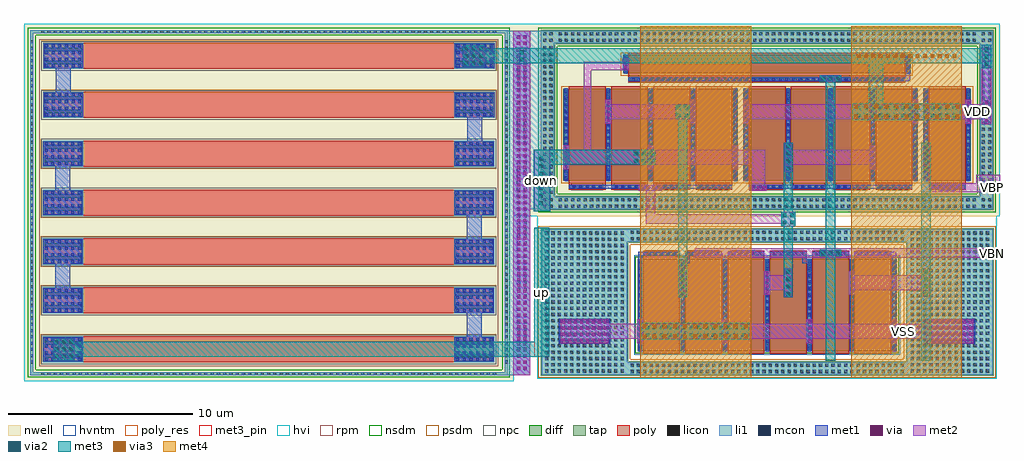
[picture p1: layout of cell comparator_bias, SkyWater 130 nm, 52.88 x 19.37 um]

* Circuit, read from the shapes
.subckt comparator_bias VBN VBP VDD VSS down up
XM1 VBN VSS VSS VSS sky130_fd_pr__nfet_g5v0d10v5 w=5 l=2
XM2 VSS VBN VBN VSS sky130_fd_pr__nfet_g5v0d10v5 w=5 l=2
XM3 n1 VBN VSS VSS sky130_fd_pr__nfet_g5v0d10v5 w=5 l=2
XM4 VSS VSS n1 VSS sky130_fd_pr__nfet_g5v0d10v5 w=5 l=2
XM5 VBP VBN VSS VSS sky130_fd_pr__nfet_g5v0d10v5 w=5 l=2
XM6 VSS VSS VBP VSS sky130_fd_pr__nfet_g5v0d10v5 w=5 l=2
XM7 VBN n1 down VDD sky130_fd_pr__pfet_g5v0d10v5 w=5 l=2 m=4
XM8 VBN VBN down VDD sky130_fd_pr__pfet_g5v0d10v5 w=1 l=15
XM9 n1 down VDD VDD sky130_fd_pr__pfet_g5v0d10v5 w=5 l=2 m=4
XM10 VDD VBP VBP VDD sky130_fd_pr__pfet_g5v0d10v5 w=5 l=2
XR11 n2 up VSS sky130_fd_pr__res_high_po w=1.41 l=20.14
XR12 n2 n3 VSS sky130_fd_pr__res_high_po w=1.41 l=20.14
XR13 n4 n3 VSS sky130_fd_pr__res_high_po w=1.41 l=20.14
XR14 n4 n5 VSS sky130_fd_pr__res_high_po w=1.41 l=20.14
XR15 n6 n5 VSS sky130_fd_pr__res_high_po w=1.41 l=20.14
XR16 n6 n7 VSS sky130_fd_pr__res_high_po w=1.41 l=20.14
XR17 VDD n7 VSS sky130_fd_pr__res_high_po w=1.41 l=20.14
.ends

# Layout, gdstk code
import gdstk
lib = gdstk.Library(unit=1e-6, precision=1e-09)
def R(c, l, rs):  # rectangles x0, y0, x1, y1
    for r in rs: c.add(gdstk.rectangle(r[:2], r[2:], *l))
def A(c, l, x, y, w, h, nx, ny, dx, dy):  # array of equal rectangles
    R(c, l, [(x+i*dx, y+j*dy, x+i*dx+w, y+j*dy+h) for i in range(nx) for j in range(ny)])
nwell = (64, 20)
diff = (65, 20)
tap = (65, 44)
poly_res = (66, 13)
poly = (66, 20)
licon = (66, 44)
li1 = (67, 20)
mcon = (67, 44)
met1 = (68, 20)
via = (68, 44)
met2 = (69, 20)
via2 = (69, 44)
met3_pin = (70, 16)
met3 = (70, 20)
via3 = (70, 44)
met4 = (71, 20)
hvi = (75, 20)
rpm = (86, 20)
nsdm = (93, 44)
psdm = (94, 20)
npc = (95, 20)
hvntm = (125, 20)

comparator_bias = lib.new_cell('comparator_bias')
R(comparator_bias, nwell, [(2539.03,3230.21,2565.565,3239.15), (2539.03,3239.15,2591.89,3249.58)])
R(comparator_bias, diff, [(2572.28,3231.84,2586.31,3236.84), (2568.255,3241.065,2577.705,3246.065), (2578.005,3241.065,2587.455,3246.065), (2587.755,3241.065,2590.335,3246.065), (2571.485,3246.89,2587.065,3247.89)])
R(comparator_bias, tap, [(2567.03,3230.52,2591.56,3231.29), (2539.36,3230.54,2565.235,3230.71), (2539.36,3230.71,2539.53,3249.07), (2565.065,3230.71,2565.235,3249.07), (2567.03,3231.29,2571.76,3237.72), (2586.83,3231.29,2591.56,3237.72), (2567.03,3237.72,2591.56,3238.49), (2567.03,3239.48,2591.56,3240.25), (2567.03,3240.25,2567.8,3248.48), (2590.79,3240.25,2591.56,3248.48), (2567.03,3248.48,2591.56,3249.25), (2539.36,3249.07,2565.235,3249.24)])
A(comparator_bias, poly_res, 2542.155, 3231.235, 20.26, 1.41, 1, 5, 0, 2.65)
R(comparator_bias, poly_res, [(2542.165,3244.485,2562.425,3245.895), (2542.165,3247.135,2562.425,3248.545)])
A(comparator_bias, poly, 2540.055, 3231.235, 24.46, 1.41, 1, 5, 0, 2.65)
A(comparator_bias, poly, 2572.57, 3231.71, 2, 5.57, 6, 1, 2.29, 0)
A(comparator_bias, poly, 2568.545, 3240.58, 2, 5.615, 4, 1, 2.29, 0)
A(comparator_bias, poly, 2578.295, 3240.58, 2, 5.615, 4, 1, 2.29, 0)
R(comparator_bias, poly, [(2588.045,3240.58,2590.045,3246.195), (2540.065,3244.485,2564.525,3245.895), (2571.775,3246.405,2586.775,3248.02), (2540.065,3247.135,2564.525,3248.545)])
A(comparator_bias, licon, 2539.96, 3230.54, 0.17, 0.17, 73, 2, 0.34, 18.53)
A(comparator_bias, licon, 2571.9, 3230.65, 0.17, 0.17, 44, 2, 0.34, 0.34)
A(comparator_bias, licon, 2567.27, 3230.68, 0.17, 0.17, 13, 23, 0.34, 0.34)
A(comparator_bias, licon, 2587.07, 3230.68, 0.17, 0.17, 13, 23, 0.34, 0.34)
A(comparator_bias, licon, 2539.36, 3231.17, 0.17, 0.17, 1, 52, 0, 0.34)
A(comparator_bias, licon, 2565.065, 3231.17, 0.17, 0.17, 1, 52, 0, 0.34)
A(comparator_bias, licon, 2572.34, 3232.045, 0.17, 0.17, 7, 14, 2.29, 0.34)
A(comparator_bias, licon, 2572.805, 3237.03, 0.17, 0.17, 5, 1, 0.34, 0)
A(comparator_bias, licon, 2575.095, 3237.03, 0.17, 0.17, 5, 1, 0.34, 0)
A(comparator_bias, licon, 2577.385, 3237.03, 0.17, 0.17, 5, 1, 0.34, 0)
A(comparator_bias, licon, 2579.675, 3237.03, 0.17, 0.17, 5, 1, 0.34, 0)
A(comparator_bias, licon, 2581.965, 3237.03, 0.17, 0.17, 5, 1, 0.34, 0)
A(comparator_bias, licon, 2584.255, 3237.03, 0.17, 0.17, 5, 1, 0.34, 0)
A(comparator_bias, licon, 2571.9, 3237.85, 0.17, 0.17, 44, 2, 0.34, 0.34)
A(comparator_bias, licon, 2567.99, 3239.61, 0.17, 0.17, 67, 2, 0.34, 0.34)
A(comparator_bias, licon, 2567.16, 3240.37, 0.17, 0.17, 1, 24, 0, 0.34)
A(comparator_bias, licon, 2567.5, 3240.37, 0.17, 0.17, 1, 24, 0, 0.34)
A(comparator_bias, licon, 2590.92, 3240.37, 0.17, 0.17, 1, 24, 0, 0.34)
A(comparator_bias, licon, 2591.26, 3240.37, 0.17, 0.17, 1, 24, 0, 0.34)
A(comparator_bias, licon, 2568.78, 3240.66, 0.17, 0.17, 5, 1, 0.34, 0)
A(comparator_bias, licon, 2571.07, 3240.66, 0.17, 0.17, 5, 1, 0.34, 0)
A(comparator_bias, licon, 2573.36, 3240.66, 0.17, 0.17, 5, 1, 0.34, 0)
A(comparator_bias, licon, 2575.65, 3240.66, 0.17, 0.17, 5, 1, 0.34, 0)
A(comparator_bias, licon, 2578.53, 3240.66, 0.17, 0.17, 5, 1, 0.34, 0)
A(comparator_bias, licon, 2580.82, 3240.66, 0.17, 0.17, 5, 1, 0.34, 0)
A(comparator_bias, licon, 2583.11, 3240.66, 0.17, 0.17, 5, 1, 0.34, 0)
A(comparator_bias, licon, 2585.4, 3240.66, 0.17, 0.17, 5, 1, 0.34, 0)
A(comparator_bias, licon, 2588.28, 3240.66, 0.17, 0.17, 5, 1, 0.34, 0)
A(comparator_bias, licon, 2568.315, 3241.27, 0.17, 0.17, 5, 14, 2.29, 0.34)
A(comparator_bias, licon, 2578.065, 3241.27, 0.17, 0.17, 5, 14, 2.29, 0.34)
A(comparator_bias, licon, 2587.815, 3241.27, 0.17, 0.17, 1, 14, 0, 0.34)
A(comparator_bias, licon, 2590.105, 3241.27, 0.17, 0.17, 1, 14, 0, 0.34)
A(comparator_bias, licon, 2571.88, 3246.485, 0.17, 0.17, 44, 1, 0.34, 0)
A(comparator_bias, licon, 2571.545, 3246.965, 0.17, 0.17, 1, 3, 0, 0.34)
A(comparator_bias, licon, 2586.835, 3246.965, 0.17, 0.17, 1, 3, 0, 0.34)
A(comparator_bias, licon, 2567.99, 3248.61, 0.17, 0.17, 67, 2, 0.34, 0.34)
R(comparator_bias, licon, [(2540.145,3231.49,2542.145,3231.68), (2562.425,3231.49,2564.425,3231.68), (2540.145,3232.2,2542.145,3232.39), (2562.425,3232.2,2564.425,3232.39), (2540.145,3234.14,2542.145,3234.33), (2562.425,3234.14,2564.425,3234.33), (2540.145,3234.85,2542.145,3235.04), (2562.425,3234.85,2564.425,3235.04), (2540.145,3236.79,2542.145,3236.98), (2562.425,3236.79,2564.425,3236.98), (2540.145,3237.5,2542.145,3237.69), (2562.425,3237.5,2564.425,3237.69), (2540.145,3239.44,2542.145,3239.63), (2562.425,3239.44,2564.425,3239.63), (2567.16,3239.61,2567.33,3239.78), (2567.5,3239.61,2567.67,3239.78), (2590.92,3239.61,2591.09,3239.78), (2591.26,3239.61,2591.43,3239.78), (2567.16,3239.95,2567.33,3240.12), (2567.5,3239.95,2567.67,3240.12), (2590.92,3239.95,2591.09,3240.12), (2591.26,3239.95,2591.43,3240.12), (2540.145,3240.15,2542.145,3240.34), (2562.425,3240.15,2564.425,3240.34), (2540.145,3242.09,2542.145,3242.28), (2562.425,3242.09,2564.425,3242.28), (2540.145,3242.8,2542.145,3242.99), (2562.425,3242.8,2564.425,3242.99), (2540.155,3244.74,2542.155,3244.93), (2562.435,3244.74,2564.435,3244.93), (2540.155,3245.45,2542.155,3245.64), (2562.435,3245.45,2564.435,3245.64), (2540.155,3247.39,2542.155,3247.58), (2562.435,3247.39,2564.435,3247.58), (2540.155,3248.1,2542.155,3248.29), (2562.435,3248.1,2564.435,3248.29), (2567.16,3248.61,2567.33,3248.78), (2567.5,3248.61,2567.67,3248.78), (2590.92,3248.61,2591.09,3248.78), (2591.26,3248.61,2591.43,3248.78), (2567.16,3248.95,2567.33,3249.12), (2567.5,3248.95,2567.67,3249.12), (2590.92,3248.95,2591.09,3249.12), (2591.26,3248.95,2591.43,3249.12)])
A(comparator_bias, li1, 2540.055, 3231.235, 2.18, 1.41, 1, 5, 0, 2.65)
A(comparator_bias, li1, 2562.335, 3231.235, 2.18, 1.41, 1, 5, 0, 2.65)
A(comparator_bias, li1, 2572.34, 3231.82, 0.17, 5.04, 7, 1, 2.29, 0)
A(comparator_bias, li1, 2572.57, 3237.03, 2, 0.17, 6, 1, 2.29, 0)
A(comparator_bias, li1, 2568.545, 3240.66, 2, 0.17, 4, 1, 2.29, 0)
A(comparator_bias, li1, 2578.295, 3240.66, 2, 0.17, 4, 1, 2.29, 0)
A(comparator_bias, li1, 2568.315, 3241.045, 0.17, 5.04, 5, 1, 2.29, 0)
A(comparator_bias, li1, 2578.065, 3241.045, 0.17, 5.04, 5, 1, 2.29, 0)
R(comparator_bias, li1, [(2539.36,3230.54,2566.465,3230.71), (2567.07,3230.56,2591.52,3231.25), (2539.36,3230.71,2539.53,3249.07), (2565.065,3230.71,2566.465,3239.52), (2567.07,3231.25,2571.72,3237.76), (2586.87,3231.25,2591.52,3237.76), (2567.07,3237.76,2591.52,3238.45), (2565.065,3239.52,2591.52,3240.21), (2565.065,3240.21,2567.76,3248.52), (2590.83,3240.21,2591.52,3248.52), (2588.045,3240.66,2590.045,3240.83), (2587.815,3241.045,2587.985,3246.085), (2590.105,3241.045,2590.275,3246.085), (2540.065,3244.485,2542.245,3245.895), (2562.345,3244.485,2564.525,3245.895), (2571.775,3246.485,2586.775,3246.655), (2571.545,3246.87,2571.715,3247.91), (2586.835,3246.87,2587.005,3247.91), (2540.065,3247.135,2542.245,3248.545), (2562.345,3247.135,2564.525,3248.545), (2565.065,3248.52,2591.52,3249.07), (2539.36,3249.07,2591.52,3249.21), (2539.36,3249.21,2565.235,3249.24)])
A(comparator_bias, mcon, 2565.735, 3230.795, 0.17, 0.17, 1, 51, 0, 0.36)
A(comparator_bias, mcon, 2566.095, 3230.795, 0.17, 0.17, 1, 51, 0, 0.36)
A(comparator_bias, mcon, 2540.15, 3231.315, 0.17, 0.17, 6, 4, 0.36, 0.36)
A(comparator_bias, mcon, 2562.445, 3231.315, 0.17, 0.17, 6, 4, 0.36, 0.36)
A(comparator_bias, mcon, 2572.34, 3231.915, 0.17, 0.17, 7, 14, 2.29, 0.36)
A(comparator_bias, mcon, 2568.05, 3232.295, 0.17, 0.17, 8, 4, 0.36, 0.36)
A(comparator_bias, mcon, 2587.83, 3232.295, 0.17, 0.17, 8, 4, 0.36, 0.36)
A(comparator_bias, mcon, 2540.15, 3233.965, 0.17, 0.17, 6, 4, 0.36, 0.36)
A(comparator_bias, mcon, 2562.445, 3233.965, 0.17, 0.17, 6, 4, 0.36, 0.36)
A(comparator_bias, mcon, 2540.15, 3236.615, 0.17, 0.17, 6, 4, 0.36, 0.36)
A(comparator_bias, mcon, 2562.445, 3236.615, 0.17, 0.17, 6, 4, 0.36, 0.36)
A(comparator_bias, mcon, 2572.765, 3237.03, 0.17, 0.17, 5, 1, 0.36, 0)
A(comparator_bias, mcon, 2575.055, 3237.03, 0.17, 0.17, 5, 1, 0.36, 0)
A(comparator_bias, mcon, 2577.345, 3237.03, 0.17, 0.17, 5, 1, 0.36, 0)
A(comparator_bias, mcon, 2579.635, 3237.03, 0.17, 0.17, 5, 1, 0.36, 0)
A(comparator_bias, mcon, 2581.925, 3237.03, 0.17, 0.17, 5, 1, 0.36, 0)
A(comparator_bias, mcon, 2584.215, 3237.03, 0.17, 0.17, 5, 1, 0.36, 0)
A(comparator_bias, mcon, 2540.15, 3239.265, 0.17, 0.17, 6, 4, 0.36, 0.36)
A(comparator_bias, mcon, 2562.445, 3239.265, 0.17, 0.17, 6, 4, 0.36, 0.36)
A(comparator_bias, mcon, 2568.74, 3240.66, 0.17, 0.17, 5, 1, 0.36, 0)
A(comparator_bias, mcon, 2571.03, 3240.66, 0.17, 0.17, 5, 1, 0.36, 0)
A(comparator_bias, mcon, 2573.32, 3240.66, 0.17, 0.17, 5, 1, 0.36, 0)
A(comparator_bias, mcon, 2575.61, 3240.66, 0.17, 0.17, 5, 1, 0.36, 0)
A(comparator_bias, mcon, 2578.49, 3240.66, 0.17, 0.17, 5, 1, 0.36, 0)
A(comparator_bias, mcon, 2580.78, 3240.66, 0.17, 0.17, 5, 1, 0.36, 0)
A(comparator_bias, mcon, 2583.07, 3240.66, 0.17, 0.17, 5, 1, 0.36, 0)
A(comparator_bias, mcon, 2585.36, 3240.66, 0.17, 0.17, 5, 1, 0.36, 0)
A(comparator_bias, mcon, 2588.24, 3240.66, 0.17, 0.17, 5, 1, 0.36, 0)
A(comparator_bias, mcon, 2568.315, 3241.14, 0.17, 0.17, 5, 14, 2.29, 0.36)
A(comparator_bias, mcon, 2578.065, 3241.14, 0.17, 0.17, 5, 14, 2.29, 0.36)
A(comparator_bias, mcon, 2587.815, 3241.14, 0.17, 0.17, 1, 14, 0, 0.36)
A(comparator_bias, mcon, 2590.105, 3241.14, 0.17, 0.17, 1, 14, 0, 0.36)
A(comparator_bias, mcon, 2540.15, 3241.915, 0.17, 0.17, 6, 4, 0.36, 0.36)
A(comparator_bias, mcon, 2562.445, 3241.915, 0.17, 0.17, 6, 4, 0.36, 0.36)
A(comparator_bias, mcon, 2591.09, 3244.19, 0.17, 0.17, 1, 4, 0, 0.36)
A(comparator_bias, mcon, 2540.165, 3244.565, 0.17, 0.17, 6, 4, 0.36, 0.36)
A(comparator_bias, mcon, 2562.46, 3244.565, 0.17, 0.17, 6, 4, 0.36, 0.36)
A(comparator_bias, mcon, 2571.99, 3246.485, 0.17, 0.17, 41, 1, 0.36, 0)
A(comparator_bias, mcon, 2540.165, 3247.215, 0.17, 0.17, 6, 4, 0.36, 0.36)
A(comparator_bias, mcon, 2562.46, 3247.215, 0.17, 0.17, 6, 4, 0.36, 0.36)
A(comparator_bias, mcon, 2591.095, 3247.35, 0.17, 0.17, 1, 3, 0, 0.36)
R(comparator_bias, mcon, [(2571.545,3247.125,2571.715,3247.295), (2586.835,3247.125,2587.005,3247.295), (2571.545,3247.485,2571.715,3247.655), (2586.835,3247.485,2587.005,3247.655)])
A(comparator_bias, met1, 2540.085, 3231.285, 2.105, 1.31, 1, 5, 0, 2.65)
A(comparator_bias, met1, 2562.38, 3231.285, 2.105, 1.31, 1, 5, 0, 2.65)
A(comparator_bias, met1, 2572.31, 3231.84, 0.23, 0.44, 4, 1, 4.58, 0)
A(comparator_bias, met1, 2574.6, 3231.84, 0.23, 3.06, 3, 1, 4.58, 0)
A(comparator_bias, met1, 2572.265, 3232.28, 0.32, 1.28, 4, 1, 4.58, 0)
A(comparator_bias, met1, 2574.555, 3234.9, 0.32, 1.28, 3, 1, 4.58, 0)
A(comparator_bias, met1, 2574.88, 3237, 1.96, 0.23, 4, 1, 2.29, 0)
A(comparator_bias, met1, 2568.285, 3241.065, 0.23, 0.64, 3, 1, 4.58, 0)
A(comparator_bias, met1, 2578.035, 3241.065, 0.23, 3.11, 3, 1, 4.58, 0)
A(comparator_bias, met1, 2568.24, 3241.705, 0.32, 1.28, 3, 1, 4.58, 0)
A(comparator_bias, met1, 2568.285, 3242.985, 0.23, 3.08, 3, 1, 4.58, 0)
A(comparator_bias, met1, 2577.99, 3244.175, 0.32, 1.28, 3, 1, 4.58, 0)
A(comparator_bias, met1, 2578.035, 3245.455, 0.23, 0.61, 3, 1, 4.58, 0)
R(comparator_bias, met1, [(2565.535,3230.54,2566.465,3249.21), (2567.99,3232.235,2570.8,3233.605), (2587.77,3232.235,2590.58,3233.605), (2563.03,3232.595,2563.83,3233.935), (2572.31,3233.56,2572.54,3237), (2576.89,3233.56,2577.12,3236.84), (2581.47,3233.56,2581.7,3236.61), (2586.05,3233.56,2586.28,3237), (2540.735,3235.245,2541.535,3236.585), (2574.6,3236.18,2574.83,3236.61), (2579.18,3236.18,2579.41,3236.84), (2583.76,3236.18,2583.99,3236.84), (2574.6,3236.61,2575.11,3236.84), (2581.19,3236.61,2581.7,3236.84), (2574.88,3236.84,2575.11,3237), (2581.19,3236.84,2581.42,3237), (2572.31,3237,2574.55,3237.23), (2584.04,3237,2586.28,3237.23), (2575.38,3237.23,2576.34,3237.32), (2577.67,3237.23,2578.63,3237.32), (2582.25,3237.23,2583.21,3237.32), (2563.03,3237.895,2563.83,3239.235), (2572.34,3240.54,2573.62,3240.63), (2578.315,3240.54,2579.275,3240.63), (2588.565,3240.54,2589.525,3240.63), (2540.735,3240.545,2541.535,3241.885), (2568.565,3240.63,2577.395,3240.86), (2578.315,3240.63,2587.145,3240.86), (2588.065,3240.63,2590.025,3240.86), (2570.575,3241.065,2570.805,3244.175), (2575.155,3241.065,2575.385,3244.175), (2580.325,3241.065,2580.555,3241.705), (2584.905,3241.065,2585.135,3241.705), (2587.785,3241.065,2588.015,3241.705), (2590.075,3241.065,2590.305,3244.175), (2580.28,3241.705,2580.6,3242.985), (2584.86,3241.705,2585.18,3242.985), (2587.74,3241.705,2588.06,3242.985), (2580.325,3242.985,2580.555,3246.065), (2584.905,3242.985,2585.135,3246.065), (2587.785,3242.985,2588.015,3246.065), (2563.045,3243.195,2563.845,3244.535), (2590.91,3244.125,2591.44,3248.45), (2570.53,3244.175,2570.85,3245.455), (2575.11,3244.175,2575.43,3245.455), (2590.03,3244.175,2590.35,3245.455), (2540.095,3244.535,2542.2,3245.845), (2562.39,3244.535,2564.495,3245.845), (2570.575,3245.455,2570.805,3246.065), (2575.155,3245.455,2575.385,3246.065), (2590.075,3245.455,2590.305,3246.065), (2540.75,3245.845,2541.55,3247.185), (2571.795,3246.455,2587.035,3246.685), (2582.25,3246.685,2583.21,3246.775), (2586.805,3246.685,2587.035,3247.89), (2571.515,3246.89,2571.745,3247.07), (2571.475,3247.07,2571.795,3247.71), (2540.095,3247.185,2542.2,3248.495), (2562.39,3247.185,2564.495,3248.495), (2571.515,3247.71,2571.745,3247.89)])
A(comparator_bias, via, 2565.765, 3230.845, 0.15, 0.15, 1, 57, 0, 0.32)
A(comparator_bias, via, 2566.085, 3230.845, 0.15, 0.15, 1, 57, 0, 0.32)
A(comparator_bias, via, 2540.795, 3231.55, 0.15, 0.15, 3, 3, 0.32, 0.32)
A(comparator_bias, via, 2568.2, 3232.365, 0.15, 0.15, 8, 4, 0.32, 0.32)
A(comparator_bias, via, 2572.35, 3232.365, 0.15, 0.15, 4, 4, 4.58, 0.32)
A(comparator_bias, via, 2587.98, 3232.365, 0.15, 0.15, 8, 4, 0.32, 0.32)
A(comparator_bias, via, 2574.64, 3234.985, 0.15, 0.15, 3, 4, 4.58, 0.32)
A(comparator_bias, via, 2575.465, 3237.085, 0.15, 0.15, 3, 1, 0.32, 0)
A(comparator_bias, via, 2577.755, 3237.085, 0.15, 0.15, 3, 1, 0.32, 0)
A(comparator_bias, via, 2582.335, 3237.085, 0.15, 0.15, 3, 2, 0.32, 9.455)
A(comparator_bias, via, 2572.425, 3240.625, 0.15, 0.15, 4, 1, 0.32, 0)
A(comparator_bias, via, 2578.4, 3240.625, 0.15, 0.15, 3, 1, 0.32, 0)
A(comparator_bias, via, 2588.65, 3240.625, 0.15, 0.15, 3, 1, 0.32, 0)
A(comparator_bias, via, 2568.325, 3241.79, 0.15, 0.15, 3, 4, 4.58, 0.32)
A(comparator_bias, via, 2580.365, 3241.79, 0.15, 0.15, 1, 4, 0, 0.32)
A(comparator_bias, via, 2584.945, 3241.79, 0.15, 0.15, 1, 4, 0, 0.32)
A(comparator_bias, via, 2587.825, 3241.79, 0.15, 0.15, 1, 4, 0, 0.32)
A(comparator_bias, via, 2570.615, 3244.26, 0.15, 0.15, 1, 4, 0, 0.32)
A(comparator_bias, via, 2575.195, 3244.26, 0.15, 0.15, 1, 4, 0, 0.32)
A(comparator_bias, via, 2578.075, 3244.26, 0.15, 0.15, 3, 4, 4.58, 0.32)
A(comparator_bias, via, 2590.115, 3244.26, 0.15, 0.15, 1, 4, 0, 0.32)
A(comparator_bias, via, 2591.1, 3244.26, 0.15, 0.15, 1, 4, 0, 0.32)
A(comparator_bias, via, 2591.105, 3247.4, 0.15, 0.15, 1, 3, 0, 0.32)
A(comparator_bias, via, 2562.995, 3247.445, 0.15, 0.15, 3, 3, 0.32, 0.32)
R(comparator_bias, via, [(2571.56,3247.155,2571.71,3247.305), (2571.56,3247.475,2571.71,3247.625)])
A(comparator_bias, met2, 2572.265, 3232.28, 0.32, 0.24, 4, 2, 4.58, 1.04)
A(comparator_bias, met2, 2568.24, 3241.705, 0.32, 0.24, 3, 2, 4.58, 1.04)
A(comparator_bias, met2, 2577.99, 3244.175, 0.32, 0.24, 3, 2, 4.58, 1.04)
R(comparator_bias, met2, [(2565.535,3230.54,2566.465,3249.21), (2540.605,3231.36,2541.775,3232.53), (2568.115,3232.28,2570.675,3232.52), (2587.895,3232.28,2590.455,3232.52), (2568.115,3232.52,2590.455,3233.32), (2568.115,3233.32,2570.675,3233.56), (2587.895,3233.32,2590.455,3233.56), (2574.53,3234.755,2574.9,3236.325), (2580.255,3234.755,2580.625,3235.14), (2587.715,3234.755,2588.085,3235.14), (2579.135,3234.9,2579.455,3235.14), (2583.715,3234.9,2584.035,3235.14), (2579.135,3235.14,2580.625,3235.94), (2583.715,3235.14,2588.085,3235.94), (2579.135,3235.94,2579.455,3236.18), (2580.255,3235.94,2580.625,3236.325), (2583.715,3235.94,2584.035,3236.18), (2587.715,3235.94,2588.085,3236.325), (2575.38,3236.91,2591.91,3237.41), (2580.055,3238.62,2580.825,3238.755), (2572.73,3238.755,2580.825,3239.255), (2572.73,3239.255,2573.23,3240.54), (2580.055,3239.255,2580.825,3239.39), (2566.65,3239.42,2567.54,3242.75), (2587.655,3240.45,2591.62,3240.885), (2572.34,3240.54,2573.62,3240.86), (2578.315,3240.54,2579.275,3240.86), (2578.395,3240.86,2579.195,3241.945), (2587.655,3240.885,2591.91,3240.95), (2587.655,3240.95,2588.155,3243.13), (2590.615,3240.95,2591.91,3241.385), (2580.255,3241.56,2580.625,3241.945), (2584.86,3241.705,2585.18,3241.945), (2568.24,3241.945,2579.195,3242.745), (2580.255,3241.945,2585.18,3242.745), (2569.365,3242.745,2569.77,3247.07), (2580.255,3242.745,2580.625,3243.13), (2584.86,3242.745,2585.18,3242.985), (2590.91,3244.125,2591.44,3244.415), (2570.53,3244.175,2570.85,3244.415), (2575.11,3244.175,2575.43,3244.415), (2590.03,3244.175,2590.35,3244.415), (2570.53,3244.415,2575.43,3245.215), (2577.99,3244.415,2591.44,3245.215), (2570.53,3245.215,2570.85,3245.455), (2575.11,3245.215,2575.43,3245.455), (2590.03,3245.215,2590.35,3245.455), (2590.91,3245.215,2591.44,3248.45), (2582.145,3246.43,2583.315,3246.8), (2569.365,3247.07,2571.795,3247.52), (2562.805,3247.255,2563.975,3248.425), (2571.455,3247.52,2571.795,3247.71)])
A(comparator_bias, via2, 2540.69, 3231.445, 0.2, 0.2, 3, 3, 0.4, 0.4)
A(comparator_bias, via2, 2572.695, 3232.62, 0.2, 0.2, 14, 2, 0.4, 0.4)
A(comparator_bias, via2, 2574.615, 3234.84, 0.2, 0.2, 1, 4, 0, 0.4)
A(comparator_bias, via2, 2580.34, 3234.84, 0.2, 0.2, 1, 4, 0, 0.4)
A(comparator_bias, via2, 2587.8, 3234.84, 0.2, 0.2, 1, 4, 0, 0.4)
A(comparator_bias, via2, 2582.23, 3237.06, 0.2, 0.2, 3, 2, 0.4, 9.455)
A(comparator_bias, via2, 2566.94, 3239.765, 0.2, 0.2, 1, 7, 0, 0.4)
A(comparator_bias, via2, 2580.34, 3241.645, 0.2, 0.2, 1, 4, 0, 0.4)
A(comparator_bias, via2, 2587.8, 3241.645, 0.2, 0.2, 1, 4, 0, 0.4)
A(comparator_bias, via2, 2572.105, 3242.045, 0.2, 0.2, 3, 2, 0.4, 0.4)
A(comparator_bias, via2, 2584.15, 3244.515, 0.2, 0.2, 14, 2, 0.4, 0.4)
A(comparator_bias, via2, 2591.08, 3247.295, 0.2, 0.2, 1, 3, 0, 0.4)
A(comparator_bias, via2, 2562.89, 3247.34, 0.2, 0.2, 3, 3, 0.4, 0.4)
R(comparator_bias, via2, [(2580.14,3238.705,2580.34,3238.905), (2580.54,3238.705,2580.74,3238.905), (2580.14,3239.105,2580.34,3239.305), (2580.54,3239.105,2580.74,3239.305), (2574.415,3244.515,2574.615,3244.715), (2574.815,3244.515,2575.015,3244.715), (2574.415,3244.915,2574.615,3245.115), (2574.815,3244.915,2575.015,3245.115), (2565.9,3247.54,2566.1,3247.74), (2565.9,3247.94,2566.1,3248.14)])
R(comparator_bias, met3_pin, [(2566.68,3231.55,2567.48,3238.54), (2566.68,3239.42,2567.48,3242.745)])
R(comparator_bias, met3, [(2582.48,3231.315,2582.98,3236.975), (2587.655,3231.315,2588.155,3243.13), (2540.605,3231.36,2541.775,3231.55), (2540.605,3231.55,2567.48,3232.35), (2540.605,3232.35,2541.775,3232.53), (2566.68,3232.35,2567.48,3238.54), (2572.455,3232.455,2578.335,3233.385), (2574.465,3234.755,2574.965,3244.43), (2580.19,3234.755,2580.69,3238.62), (2582.145,3236.975,2583.315,3237.345), (2582.48,3237.345,2582.98,3246.43), (2580.055,3238.62,2580.825,3239.39), (2580.19,3239.39,2580.69,3243.13), (2566.65,3239.42,2567.54,3241.945), (2566.65,3241.945,2573.22,3242.745), (2566.65,3242.745,2567.54,3242.75), (2583.91,3244.35,2589.79,3245.28), (2574.33,3244.43,2575.1,3245.2), (2584.79,3245.28,2585.59,3247.44), (2582.145,3246.43,2583.315,3246.8), (2590.91,3247.16,2591.44,3247.44), (2562.805,3247.255,2563.975,3247.44), (2565.665,3247.4,2566.335,3247.44), (2562.805,3247.44,2591.44,3248.24), (2562.805,3248.24,2563.975,3248.425), (2565.665,3248.24,2566.335,3248.28), (2590.91,3248.24,2591.44,3248.45)])
A(comparator_bias, via3, 2572.545, 3232.545, 0.2, 0.2, 11, 2, 0.55, 0.55)
A(comparator_bias, via3, 2584, 3244.44, 0.2, 0.2, 11, 2, 0.55, 0.55)
A(comparator_bias, via3, 2584.145, 3247.735, 0.2, 0.2, 14, 1, 0.4, 0)
R(comparator_bias, met4, [(2572.42,3230.39,2578.42,3249.455), (2583.845,3230.39,2589.845,3249.455)])
R(comparator_bias, hvi, [(2539.03,3230.21,2565.565,3239.15), (2566.845,3230.335,2591.745,3239.15), (2539.03,3239.15,2591.89,3249.58)])
R(comparator_bias, rpm, [(2539.855,3231.035,2564.715,3243.445), (2539.865,3243.445,2564.715,3244.285), (2539.865,3244.285,2564.725,3248.745)])
R(comparator_bias, nsdm, [(2539.235,3230.415,2565.36,3230.835), (2539.235,3230.835,2539.655,3248.945), (2564.94,3230.835,2565.36,3248.945), (2572.155,3231.715,2586.435,3236.965), (2566.905,3239.355,2591.685,3240.375), (2566.905,3240.375,2567.925,3248.355), (2590.665,3240.375,2591.685,3248.355), (2566.905,3248.355,2591.685,3249.375), (2539.235,3248.945,2565.36,3249.365)])
A(comparator_bias, psdm, 2539.945, 3231.125, 24.68, 1.63, 1, 5, 0, 2.65)
R(comparator_bias, psdm, [(2566.905,3230.395,2591.685,3231.415), (2566.905,3231.415,2571.885,3237.595), (2586.705,3231.415,2591.685,3237.595), (2566.905,3237.595,2591.685,3238.615), (2568.13,3240.94,2590.46,3246.19), (2539.955,3244.375,2564.635,3246.005), (2571.36,3246.765,2587.19,3248.015), (2539.955,3247.025,2564.635,3248.655)])
A(comparator_bias, npc, 2539.96, 3231.14, 24.65, 1.6, 1, 5, 0, 2.65)
A(comparator_bias, npc, 2572.705, 3236.93, 1.73, 0.37, 6, 1, 2.29, 0)
A(comparator_bias, npc, 2568.68, 3240.56, 1.73, 0.37, 4, 1, 2.29, 0)
A(comparator_bias, npc, 2578.43, 3240.56, 1.73, 0.37, 4, 1, 2.29, 0)
R(comparator_bias, npc, [(2588.18,3240.56,2589.91,3240.93), (2539.97,3244.39,2564.62,3245.99), (2571.78,3246.385,2586.77,3246.755), (2539.97,3247.04,2564.62,3248.64)])
R(comparator_bias, hvntm, [(2572.095,3231.655,2586.495,3237.025)])
comparator_bias.add(gdstk.Label('VBN', (2591.5,3237.155), layer=69, texttype=5))
comparator_bias.add(gdstk.Label('VSS', (2586.695,3232.92), layer=69, texttype=5))
comparator_bias.add(gdstk.Label('VDD', (2590.71,3244.81), layer=69, texttype=5))
comparator_bias.add(gdstk.Label('VBP', (2591.51,3240.7), layer=69, texttype=5))
comparator_bias.add(gdstk.Label('up', (2567.08,3235.045), layer=70, texttype=5))
comparator_bias.add(gdstk.Label('down', (2567.08,3241.082), layer=70, texttype=5))

lib.write_gds('comparator_bias.gds')
